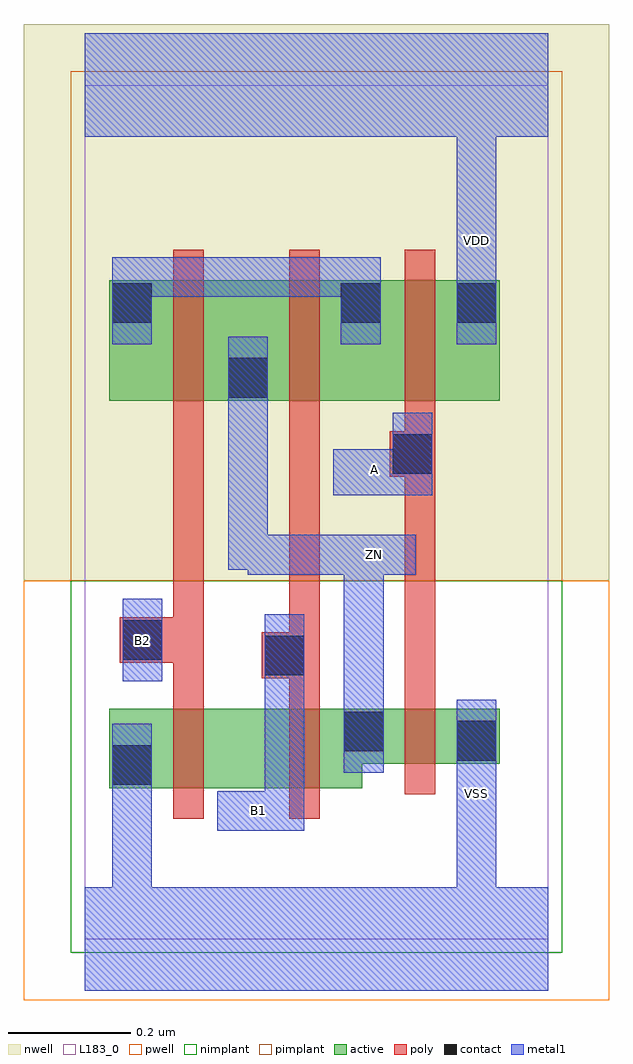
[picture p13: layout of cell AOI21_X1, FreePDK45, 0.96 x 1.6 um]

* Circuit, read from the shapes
.subckt AOI21_X1 A B1 B2 VDD VSS ZN
M1 n1 B2 VSS VSUBS nfet w=0.13u l=0.05u
M2 ZN B1 n1 VSUBS nfet w=0.13u l=0.05u
M3 VSS A ZN VSUBS nfet w=0.09u l=0.05u
M4 ZN B2 n2 n3 pfet w=0.1975u l=0.05u
M5 n2 B1 ZN n3 pfet w=0.1975u l=0.05u
M6 VDD A n2 n3 pfet w=0.1975u l=0.05u
.ends

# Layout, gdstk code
import gdstk
lib = gdstk.Library(unit=1e-6, precision=1e-10)
def R(c, l, rs):  # rectangles x0, y0, x1, y1
    for r in rs: c.add(gdstk.rectangle(r[:2], r[2:], *l))
def P(c, l, *ps):  # polygons
    for p in ps: c.add(gdstk.Polygon(p, *l))
active = (1, 0)
pwell = (2, 0)
nwell = (3, 0)
nimplant = (4, 0)
pimplant = (5, 0)
poly = (9, 0)
contact = (10, 0)
metal1 = (11, 0)
L183_0 = (183, 0)

aoi21_x1 = lib.new_cell('AOI21_X1')
P(aoi21_x1, active, [(0.04,0.2475),(0.145,0.2475),(0.195,0.2475),(0.335,0.2475),(0.385,0.2475),(0.455,0.2475),(0.455,0.2875),(0.525,0.2875),(0.575,0.2875),(0.68,0.2875),(0.68,0.3775),(0.575,0.3775),(0.525,0.3775),(0.385,0.3775),(0.335,0.3775),(0.195,0.3775),(0.145,0.3775),(0.04,0.3775)],
  [(0.04,0.8825),(0.145,0.8825),(0.195,0.8825),(0.335,0.8825),(0.385,0.8825),(0.525,0.8825),(0.575,0.8825),(0.68,0.8825),(0.68,1.08),(0.575,1.08),(0.525,1.08),(0.385,1.08),(0.335,1.08),(0.195,1.08),(0.145,1.08),(0.04,1.08)])
P(aoi21_x1, pwell, [(-0.1,-0.1),(0.86,-0.1),(0.86,0.5875),(0.66,0.5875),(0.1,0.5875),(-0.1,0.5875)])
P(aoi21_x1, nwell, [(-0.1,0.5875),(0.1,0.5875),(0.66,0.5875),(0.86,0.5875),(0.86,1.5),(-0.1,1.5)])
R(aoi21_x1, nimplant, [(-0.0225,-0.0225,0.7825,0.5875)])
R(aoi21_x1, pimplant, [(-0.0225,0.5875,0.7825,1.4225)])
P(aoi21_x1, poly, [(0.0575,0.4525),(0.145,0.4525),(0.145,0.3775),(0.145,0.2475),(0.145,0.1975),(0.195,0.1975),(0.195,0.2475),(0.195,0.3775),(0.195,0.8825),(0.195,1.08),(0.195,1.13),(0.145,1.13),(0.145,1.08),(0.145,0.8825),(0.145,0.5275),(0.0575,0.5275)],
  [(0.29,0.4275),(0.335,0.4275),(0.335,0.3775),(0.335,0.2475),(0.335,0.1975),(0.385,0.1975),(0.385,0.2475),(0.385,0.3775),(0.385,0.8825),(0.385,1.08),(0.385,1.13),(0.335,1.13),(0.335,1.08),(0.335,0.8825),(0.335,0.5025),(0.29,0.5025)],
  [(0.5,0.7575),(0.525,0.7575),(0.525,0.3775),(0.525,0.2875),(0.525,0.2375),(0.575,0.2375),(0.575,0.2875),(0.575,0.3775),(0.575,0.8825),(0.575,1.08),(0.575,1.13),(0.525,1.13),(0.525,1.08),(0.525,0.8825),(0.525,0.8325),(0.5,0.8325)])
R(aoi21_x1, contact, [(0.045,0.2525,0.11,0.3175), (0.61,0.2925,0.675,0.3575), (0.425,0.3075,0.49,0.3725), (0.295,0.4325,0.36,0.4975), (0.0625,0.4575,0.1275,0.5225), (0.505,0.7625,0.57,0.8275), (0.235,0.8875,0.3,0.9525), (0.045,1.01,0.11,1.075), (0.42,1.01,0.485,1.075), (0.61,1.01,0.675,1.075)])
R(aoi21_x1, metal1, [(0.0625,0.4225,0.1275,0.5575)])
P(aoi21_x1, metal1, [(0.235,0.605),(0.2675,0.605),(0.2675,0.5975),(0.425,0.5975),(0.425,0.2725),(0.49,0.2725),(0.49,0.5975),(0.5425,0.5975),(0.5425,0.6625),(0.3,0.6625),(0.3,0.9875),(0.235,0.9875)],
  [(0.4075,0.7275),(0.57,0.7275),(0.57,0.8625),(0.505,0.8625),(0.505,0.8025),(0.4075,0.8025)],
  [(0,-0.085),(0.76,-0.085),(0.76,0.085),(0.675,0.085),(0.675,0.3925),(0.61,0.3925),(0.61,0.085),(0.11,0.085),(0.11,0.3525),(0.045,0.3525),(0.045,0.085),(0,0.085)],
  [(0,1.315),(0.61,1.315),(0.61,0.975),(0.675,0.975),(0.675,1.315),(0.76,1.315),(0.76,1.485),(0,1.485)],
  [(0.2175,0.1775),(0.36,0.1775),(0.36,0.5325),(0.295,0.5325),(0.295,0.2425),(0.2175,0.2425)],
  [(0.045,0.975),(0.11,0.975),(0.11,1.0525),(0.42,1.0525),(0.42,0.975),(0.485,0.975),(0.485,1.1175),(0.045,1.1175)])
R(aoi21_x1, L183_0, [(0,0,0.76,1.4)])
aoi21_x1.add(gdstk.Label('A', (0.475,0.77), layer=11, texttype=0))
aoi21_x1.add(gdstk.Label('B1', (0.285,0.21), layer=11, texttype=0))
aoi21_x1.add(gdstk.Label('B2', (0.095,0.49), layer=11, texttype=0))
aoi21_x1.add(gdstk.Label('VDD', (0.6425,1.145), layer=11, texttype=0))
aoi21_x1.add(gdstk.Label('VSS', (0.6425,0.2387), layer=11, texttype=0))
aoi21_x1.add(gdstk.Label('ZN', (0.475,0.63), layer=11, texttype=0))

lib.write_gds('AOI21_X1.gds')
